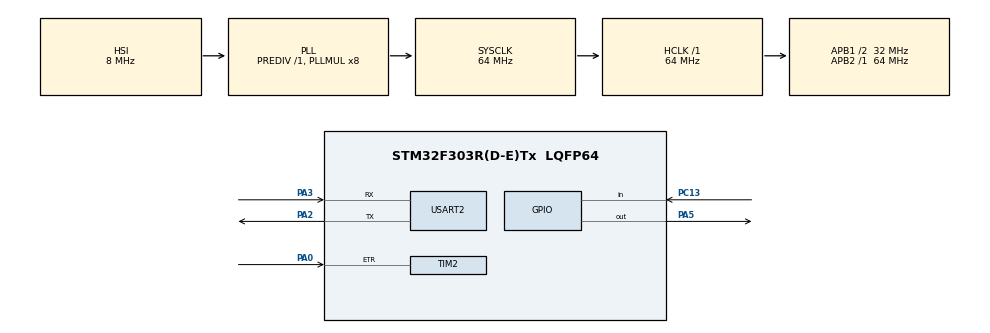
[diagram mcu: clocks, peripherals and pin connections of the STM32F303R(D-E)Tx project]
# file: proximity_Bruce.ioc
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Mcu.Family=STM32F3
Mcu.Name=STM32F303R(D-E)Tx
Mcu.Package=LQFP64
NVIC.PriorityGroup=NVIC_PRIORITYGROUP_4
PA0.Signal=S_TIM2_CH1_ETR
PA2.Mode=Asynchronous
PA2.Signal=USART2_TX
PA3.Mode=Asynchronous
PA3.Signal=USART2_RX
PA5.Signal=GPIO_Output
PC13.Signal=GPIO_Input
ProjectManager.HeapSize=0x200
ProjectManager.StackSize=0x400
ProjectManager.TargetToolchain=STM32CubeIDE
RCC.AHBFreq_Value=64000000
RCC.APB1CLKDivider=RCC_HCLK_DIV2
RCC.APB1Freq_Value=32000000
RCC.APB1TimFreq_Value=64000000
RCC.APB2Freq_Value=64000000
RCC.APB2TimFreq_Value=64000000
RCC.CortexFreq_Value=64000000
RCC.HCLKFreq_Value=64000000
RCC.HSE_VALUE=8000000
RCC.HSI_VALUE=8000000
RCC.LSE_VALUE=32768
RCC.PLLMUL=RCC_PLL_MUL8
RCC.SYSCLKFreq_VALUE=64000000
RCC.SYSCLKSourceVirtual=RCC_SYSCLKSOURCE_PLLCLK
RCC.TIM2Selection=RCC_TIM2CLK_PLLCLK
RCC.USBFreq_Value=64000000
SH.S_TIM2_CH1_ETR.0=TIM2_ETR,ClockSourceETR_Mode2
TIM2.AutoReloadPreload=TIM_AUTORELOAD_PRELOAD_ENABLE
TIM2.Period=4294967295
USART2.VirtualMode-Asynchronous=VM_ASYNC
board=custom

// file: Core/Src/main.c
/* USER CODE BEGIN Header */
/**
  ******************************************************************************
  * @file           : main.c
  * @brief          : Main program body
  ******************************************************************************
  * @attention
  *
  * <h2><center>&copy; Copyright (c) 2022 STMicroelectronics.
  * All rights reserved.</center></h2>
  *
  * This software component is licensed by ST under BSD 3-Clause license,
  * the "License"; You may not use this file except in compliance with the
  * License. You may obtain a copy of the License at:
  *                        opensource.org/licenses/BSD-3-Clause
  *
  ******************************************************************************
  */
/* USER CODE END Header */
#include "main.h"

/* USER CODE BEGIN Includes */
#include <stdio.h>
#include <string.h>
#include <math.h>
/* USER CODE END Includes */

/* USER CODE BEGIN PD */
#define Buff_len (200)
#define TIM2_CNT_NUM (100)
#define SD_CNT_NUM (10)
/* USER CODE END PD */

TIM_HandleTypeDef htim2;

UART_HandleTypeDef huart2;

/* USER CODE BEGIN PV */
char tx_buff[Buff_len];

uint8_t rx_data[1] = {0};

typedef union {
	#define FloatSize (2)
	float f4Byte[FloatSize];
	char  Byte4float[4*FloatSize];
} xu_floatChar;
xu_floatChar PostAvgOffsetValue = {0};
#define SAVE_ON_FLOAT  PostAvgOffsetValue.f4Byte[0]
#define SAVE_OFF_FLOAT PostAvgOffsetValue.f4Byte[1]

typedef union {
	char u8Byte;
	struct {
		unsigned bit0:1;
		unsigned bit1:1;
		unsigned bit2:1;
		unsigned bit3:1;
		unsigned bit4:1;
		unsigned bit5:1;
		unsigned bit6:1;
	} sbit;
} xu_sbit;
xu_sbit flag[1] = {0};
#define BTN_blue flag[0].sbit.bit0

typedef enum {
	xePR_State_Empty,
	xePR_State_Ready,
	xePR_State_Idle,
} xe_ProximityReady;
xe_ProximityReady ProximityReady = xePR_State_Empty;

typedef enum {
	xePOCFD_PowerOn,
	xePOCFD_FreeRun,
} xe_PowerOn_Check_Freq_Directly;
xe_PowerOn_Check_Freq_Directly xe_WearValueState = xePOCFD_FreeRun;

typedef enum {
	xeWS_WearInitial,
	xeWS_WearOn,
	xeWS_WearOff,
	xeWS_Normal,
} xe_WearState;
static xe_WearState xeWearState = xeWS_WearInitial;

typedef enum {
	xeCalibrationOn,
	xeCalibrationOff,
} xe_CalibrationState;
xe_CalibrationState xeCalibrationState = xeCalibrationOn;

float SD = 0;
float SD_sqrt = 0;
float SD_avg = 0;
float present = 0;
uint32_t avg = 0;
calibration_check = 1;

static unsigned int save_TIM2[TIM2_CNT_NUM] = {0};

/* USER CODE END PV */

void SystemClock_Config(void);
static void MX_GPIO_Init(void);
static void MX_TIM2_Init(void);
static void MX_USART2_UART_Init(void);
/* USER CODE BEGIN PFP */
void task1ms(void);
void task5ms(void);
void task10ms(void);
void task50ms(void);
void task100ms(void);
void task500ms(void);
void task1000ms(void);
void task2000ms(void);
void task5000ms(void);
float ffnPostAvg_0d05(float u32Input);
float ffnPostAvg_0d25(float u32Input);
void calibration_task(void);
float present_freq(uint32_t);
uint32_t avg_freq(uint32_t);
/* USER CODE END PFP */

/* USER CODE BEGIN 0 */
void task1ms(void) {

}
void task5ms(void) {

}
void task10ms(void) {
	uint32_t TIM2CNT = __HAL_TIM_GET_COUNTER(&htim2);
	__HAL_TIM_SET_COUNTER(&htim2, 0);

//		snprintf(tx_buff, Buff_len, "counter: %d \r\n",  TIM2CNT);
//		HAL_UART_Transmit(&huart2, (uint8_t*)tx_buff, strlen(tx_buff), HAL_MAX_DELAY);

		unsigned int freq = 0; //can speed up
		float mean = 0;
		for(int i = TIM2_CNT_NUM-1; i > 0; i--) {
			save_TIM2[i] = save_TIM2[i-1];
		}
		save_TIM2[0] = TIM2CNT;
		for(int i = 0; i < TIM2_CNT_NUM; i++) {
			freq += save_TIM2[i];
		}
		SD = 0;
		mean = freq / TIM2_CNT_NUM;
		for (int i = 0; i < 10; i++) {
		    SD += pow(save_TIM2[i] - mean, 2);
		}
		SD_sqrt = sqrt(SD / TIM2_CNT_NUM);

//		snprintf(tx_buff, Buff_len, "SD: %f \r\n",  SD_sqrt);
//		HAL_UART_Transmit(&huart2, (uint8_t*)tx_buff, strlen(tx_buff), HAL_MAX_DELAY);

		float ftmp;
		//Plot Frequency post avg (0.25)
		ftmp = freq;
		float Get0d25PostAvg = ffnPostAvg_0d25(ftmp);

		//Plot Frequency post avg (0.05)
		float Get0d05PostAvg = ffnPostAvg_0d05(ftmp);
		present = present_freq(TIM2CNT);
		avg = avg_freq(freq);
		float offset = SD_avg*100;

		const float cfOffsetValue = 250.0;
		float fMaxBoundary = Get0d05PostAvg+cfOffsetValue;
		float fMinBoundary = Get0d05PostAvg-cfOffsetValue;
		float fPostAvgFrequency = Get0d25PostAvg-fMinBoundary;

//		snprintf(tx_buff, Buff_len, "present: %f avg: %f offset: %f \r\n", present, avg, offset);
//		HAL_UART_Transmit(&huart2, (uint8_t*)tx_buff, strlen(tx_buff), HAL_MAX_DELAY);

//		snprintf(tx_buff, Buff_len, "freq: %d \r\n", freq);
//		HAL_UART_Transmit(&huart2, (uint8_t*)tx_buff, strlen(tx_buff), HAL_MAX_DELAY);

		switch(ProximityReady) {
			case xePR_State_Empty:
				break;
			case xePR_State_Ready:
				break;
			case xePR_State_Idle: //can be added
				break;
		}

		float TransferMax = 2*cfOffsetValue;
		float TransferMin = 0.0;

		if (ProximityReady == xePR_State_Idle) {
			switch(xe_WearValueState) {
				case xePOCFD_FreeRun:
						//Normal
						if(abs(present - avg) < 13*offset) {
							if(xeWearState != xeWS_WearInitial) {
								xeWearState = xeWS_WearInitial;
							}
						}

						//Wear on
						if(present - avg < (-13)*offset) {
							if(xeWearState != xeWS_WearOn) {
								xeWearState = xeWS_WearOn;

								SAVE_ON_FLOAT = Get0d25PostAvg;
							}
						}

						//Wear off
						if(present - avg > 13*offset) {
							if(xeWearState != xeWS_WearOff) {
								xeWearState = xeWS_WearOff;

								SAVE_OFF_FLOAT = Get0d25PostAvg;
							}
						}
						break;
			}
		}

		switch(xeWearState) {
			case xeWS_WearInitial:
					break;
			case xeWS_Normal:
					break;
			case xeWS_WearOn:
					HAL_GPIO_WritePin(GPIOA, GPIO_PIN_5, GPIO_PIN_SET);
					break;
			case xeWS_WearOff:
					HAL_GPIO_WritePin(GPIOA, GPIO_PIN_5, GPIO_PIN_RESET);
					break;
		}

}
void task50ms(void) {

}
void task100ms(void) {
//	HAL_GPIO_TogglePin(GPIOA, GPIO_PIN_5);
	if(xeWearState == xeWS_WearInitial) {
		static float save_SD[SD_CNT_NUM] = {0};
		float SD_sum = 0;
		for(int i = SD_CNT_NUM-1; i > 0; i--) {
					save_SD[i] = save_SD[i-1];
					SD_sum += save_SD[i];
		}
		save_SD[0] = SD_sqrt;
		SD_avg = SD_sum / (SD_CNT_NUM-1);
	}
}
void task500ms(void) {
	if (!(HAL_GPIO_ReadPin(GPIOC, GPIO_PIN_13)))  {
		BTN_blue = 0;
		snprintf(tx_buff, Buff_len, "BlueButton Press\r\n");
		HAL_UART_Transmit(&huart2, (uint8_t*)tx_buff, strlen(tx_buff), HAL_MAX_DELAY);
	}

}
void task1000ms(void) {

}

void task2000ms(void) {
	switch(ProximityReady) {
		case xePR_State_Empty:
			ProximityReady = xePR_State_Ready;
		case xePR_State_Ready:
			ProximityReady = xePR_State_Idle;
		default:
			break;
	}

}

void task5000ms(void) {
}

void calibration_away_task(void) {

	snprintf(tx_buff, Buff_len, "Enter Calibration Mode\r\n");
	HAL_UART_Transmit(&huart2, (uint8_t*)tx_buff, strlen(tx_buff), HAL_MAX_DELAY);

	snprintf(tx_buff, Buff_len, "Please keep away from headphone\r\n");
	HAL_UART_Transmit(&huart2, (uint8_t*)tx_buff, strlen(tx_buff), HAL_MAX_DELAY);
	HAL_Delay(3000);

	snprintf(tx_buff, Buff_len, "Calibration will start in 3 s\r\n");
	HAL_UART_Transmit(&huart2, (uint8_t*)tx_buff, strlen(tx_buff), HAL_MAX_DELAY);
	HAL_Delay(1000);

	snprintf(tx_buff, Buff_len, "Calibration will start in 2 s\r\n");
	HAL_UART_Transmit(&huart2, (uint8_t*)tx_buff, strlen(tx_buff), HAL_MAX_DELAY);
	HAL_Delay(1000);

	snprintf(tx_buff, Buff_len, "Calibration will start in 1 s\r\n");
	HAL_UART_Transmit(&huart2, (uint8_t*)tx_buff, strlen(tx_buff), HAL_MAX_DELAY);
	HAL_Delay(1000);

	snprintf(tx_buff, Buff_len, "freq = %d\r\n", avg);
	HAL_UART_Transmit(&huart2, (uint8_t*)tx_buff, strlen(tx_buff), HAL_MAX_DELAY);
	HAL_Delay(1000);
}

void calibration_close_task(void) {

	snprintf(tx_buff, Buff_len, "Enter Calibration Mode\r\n");
	HAL_UART_Transmit(&huart2, (uint8_t*)tx_buff, strlen(tx_buff), HAL_MAX_DELAY);

	snprintf(tx_buff, Buff_len, "Please be close to headphone\r\n");
	HAL_UART_Transmit(&huart2, (uint8_t*)tx_buff, strlen(tx_buff), HAL_MAX_DELAY);
	HAL_Delay(3000);

	snprintf(tx_buff, Buff_len, "Calibration will start in 3 s\r\n");
	HAL_UART_Transmit(&huart2, (uint8_t*)tx_buff, strlen(tx_buff), HAL_MAX_DELAY);
	HAL_Delay(1000);

	snprintf(tx_buff, Buff_len, "Calibration will start in 2 s\r\n");
	HAL_UART_Transmit(&huart2, (uint8_t*)tx_buff, strlen(tx_buff), HAL_MAX_DELAY);
	HAL_Delay(1000);

	snprintf(tx_buff, Buff_len, "Calibration will start in 1 s\r\n");
	HAL_UART_Transmit(&huart2, (uint8_t*)tx_buff, strlen(tx_buff), HAL_MAX_DELAY);
	HAL_Delay(1000);

	snprintf(tx_buff, Buff_len, "freq = %d\r\n", avg);
	HAL_UART_Transmit(&huart2, (uint8_t*)tx_buff, strlen(tx_buff), HAL_MAX_DELAY);
	HAL_Delay(1000);

}

/* USER CODE END 0 */

int main(void)
{

  /* MCU Configuration--------------------------------------------------------*/

  /* Reset of all peripherals, Initializes the Flash interface and the Systick. */
  HAL_Init();

  /* Configure the system clock */
  SystemClock_Config();

  /* Initialize all configured peripherals */
  MX_GPIO_Init();
  MX_TIM2_Init();
  MX_USART2_UART_Init();

  /* Infinite loop */
  while (1)
  {

    /* USER CODE BEGIN 3 */
	  if(1) {
	  		  static unsigned int   polling1ms = 0;
	  		  static unsigned char  polling5ms = 0, polling10ms = 0, polling50ms = 0, polling100ms = 0;
	  		  static unsigned short polling500ms = 0, polling1000ms = 0, polling2000ms = 0, polling5000ms = 0;

	  		  if(polling1ms != HAL_GetTick() ) {
				  polling1ms++;
				  task1ms();

				  polling5ms++;
				  polling10ms++;
				  polling50ms++;
				  polling100ms++;
				  polling500ms++;
				  polling1000ms++;
				  polling2000ms++;
				  polling5000ms++;
	  		  }
	  		  if(polling5ms >= 5) {
	  			  polling5ms = 0;
	  			  task5ms();
	  		  }

	  		  if(polling10ms>=10) {
	  			  polling10ms = 0;
	  			  task10ms();
	  		  }
	  		  if(polling50ms>=50) {
	  			  polling50ms = 0;
	  			  task50ms();
	  		  }
	  		  if(polling100ms>=100) {
	  			  polling100ms = 0;
	  		  	  task100ms();
	  		  }
	  		  if(polling500ms>=500) {
	  			  polling500ms = 0;
	  			  task500ms();
	  		  }
	  		  if(polling1000ms>=1000) {
	  			  polling1000ms = 0;
	  			  task1000ms();
	  		  }
	  		if(polling2000ms>=2000) {
				  polling2000ms = 0;
				  task2000ms();
			  }
	  		if(polling5000ms>=5000) {
				  task5000ms();
				  if(calibration_check == 2) {
					  calibration_close_task();
					  calibration_check++;
					  for(int i = 0; i < TIM2_CNT_NUM; i++) {
						save_TIM2[i] = 0;
					 }
					  ProximityReady = xePR_State_Empty;
					  xeWearState = xeWS_WearInitial;
				  }
				  if(calibration_check == 1) {
					  calibration_away_task();
					  calibration_check++;
					  for(int i = 0; i < TIM2_CNT_NUM; i++) {
						  save_TIM2[i] = 0;
					  }
					  ProximityReady = xePR_State_Empty;
					  xeWearState = xeWS_WearInitial;
				  }
				  polling1ms = HAL_GetTick();
				  polling5ms = 0;
				  polling10ms = 0;
				  polling50ms = 0;
				  polling100ms = 0;
				  polling500ms = 0;
				  polling1000ms = 0;
				  polling2000ms = 0;
				  polling5000ms = 0;
			  }
	  	  }
  }
  /* USER CODE END 3 */
}

void SystemClock_Config(void)
{
  RCC_OscInitTypeDef RCC_OscInitStruct = {0};
  RCC_ClkInitTypeDef RCC_ClkInitStruct = {0};
  RCC_PeriphCLKInitTypeDef PeriphClkInit = {0};

  /** Initializes the RCC Oscillators according to the specified parameters
  * in the RCC_OscInitTypeDef structure.
  */
  RCC_OscInitStruct.OscillatorType = RCC_OSCILLATORTYPE_HSI;
  RCC_OscInitStruct.HSIState = RCC_HSI_ON;
  RCC_OscInitStruct.HSICalibrationValue = RCC_HSICALIBRATION_DEFAULT;
  RCC_OscInitStruct.PLL.PLLState = RCC_PLL_ON;
  RCC_OscInitStruct.PLL.PLLSource = RCC_PLLSOURCE_HSI;
  RCC_OscInitStruct.PLL.PLLMUL = RCC_PLL_MUL8;
  RCC_OscInitStruct.PLL.PREDIV = RCC_PREDIV_DIV1;
  if (HAL_RCC_OscConfig(&RCC_OscInitStruct) != HAL_OK)
  {
    Error_Handler();
  }
  /** Initializes the CPU, AHB and APB buses clocks
  */
  RCC_ClkInitStruct.ClockType = RCC_CLOCKTYPE_HCLK|RCC_CLOCKTYPE_SYSCLK
                              |RCC_CLOCKTYPE_PCLK1|RCC_CLOCKTYPE_PCLK2;
  RCC_ClkInitStruct.SYSCLKSource = RCC_SYSCLKSOURCE_PLLCLK;
  RCC_ClkInitStruct.AHBCLKDivider = RCC_SYSCLK_DIV1;
  RCC_ClkInitStruct.APB1CLKDivider = RCC_HCLK_DIV2;
  RCC_ClkInitStruct.APB2CLKDivider = RCC_HCLK_DIV1;

  if (HAL_RCC_ClockConfig(&RCC_ClkInitStruct, FLASH_LATENCY_2) != HAL_OK)
  {
    Error_Handler();
  }
  PeriphClkInit.PeriphClockSelection = RCC_PERIPHCLK_USART2|RCC_PERIPHCLK_TIM2;
  PeriphClkInit.Usart2ClockSelection = RCC_USART2CLKSOURCE_PCLK1;
  PeriphClkInit.Tim2ClockSelection = RCC_TIM2CLK_PLLCLK;
  if (HAL_RCCEx_PeriphCLKConfig(&PeriphClkInit) != HAL_OK)
  {
    Error_Handler();
  }
}

static void MX_TIM2_Init(void)
{

  TIM_ClockConfigTypeDef sClockSourceConfig = {0};
  TIM_MasterConfigTypeDef sMasterConfig = {0};

  htim2.Instance = TIM2;
  htim2.Init.Prescaler = 0;
  htim2.Init.CounterMode = TIM_COUNTERMODE_UP;
  htim2.Init.Period = 4294967295;
  htim2.Init.ClockDivision = TIM_CLOCKDIVISION_DIV1;
  htim2.Init.AutoReloadPreload = TIM_AUTORELOAD_PRELOAD_ENABLE;
  if (HAL_TIM_Base_Init(&htim2) != HAL_OK)
  {
    Error_Handler();
  }
  sClockSourceConfig.ClockSource = TIM_CLOCKSOURCE_ETRMODE2;
  sClockSourceConfig.ClockPolarity = TIM_CLOCKPOLARITY_NONINVERTED;
  sClockSourceConfig.ClockPrescaler = TIM_CLOCKPRESCALER_DIV1;
  sClockSourceConfig.ClockFilter = 0;
  if (HAL_TIM_ConfigClockSource(&htim2, &sClockSourceConfig) != HAL_OK)
  {
    Error_Handler();
  }
  sMasterConfig.MasterOutputTrigger = TIM_TRGO_RESET;
  sMasterConfig.MasterSlaveMode = TIM_MASTERSLAVEMODE_DISABLE;
  if (HAL_TIMEx_MasterConfigSynchronization(&htim2, &sMasterConfig) != HAL_OK)
  {
    Error_Handler();
  }

}

static void MX_USART2_UART_Init(void)
{

  huart2.Instance = USART2;
  huart2.Init.BaudRate = 38400;
  huart2.Init.WordLength = UART_WORDLENGTH_8B;
  huart2.Init.StopBits = UART_STOPBITS_1;
  huart2.Init.Parity = UART_PARITY_NONE;
  huart2.Init.Mode = UART_MODE_TX_RX;
  huart2.Init.HwFlowCtl = UART_HWCONTROL_NONE;
  huart2.Init.OverSampling = UART_OVERSAMPLING_16;
  huart2.Init.OneBitSampling = UART_ONE_BIT_SAMPLE_DISABLE;
  huart2.AdvancedInit.AdvFeatureInit = UART_ADVFEATURE_NO_INIT;
  if (HAL_UART_Init(&huart2) != HAL_OK)
  {
    Error_Handler();
  }
  /* USER CODE BEGIN USART2_Init 2 */
  HAL_TIM_Base_Start(&htim2);
  /* USER CODE END USART2_Init 2 */

}

static void MX_GPIO_Init(void)
{
  GPIO_InitTypeDef GPIO_InitStruct = {0};

  /* GPIO Ports Clock Enable */
  __HAL_RCC_GPIOC_CLK_ENABLE();
  __HAL_RCC_GPIOA_CLK_ENABLE();

  /*Configure GPIO pin Output Level */
  HAL_GPIO_WritePin(GPIOA, GPIO_PIN_5, GPIO_PIN_RESET);

  /*Configure GPIO pin : PC13 */
  GPIO_InitStruct.Pin = GPIO_PIN_13;
  GPIO_InitStruct.Mode = GPIO_MODE_INPUT;
  GPIO_InitStruct.Pull = GPIO_NOPULL;
  HAL_GPIO_Init(GPIOC, &GPIO_InitStruct);

  /*Configure GPIO pin : PA5 */
  GPIO_InitStruct.Pin = GPIO_PIN_5;
  GPIO_InitStruct.Mode = GPIO_MODE_OUTPUT_PP;
  GPIO_InitStruct.Pull = GPIO_NOPULL;
  GPIO_InitStruct.Speed = GPIO_SPEED_FREQ_LOW;
  HAL_GPIO_Init(GPIOA, &GPIO_InitStruct);

}

/* USER CODE BEGIN 4 */
float ffnPostAvg_0d05(float u32Input) {
	static float fsaveFreq = 0.0;
		   float fcurrFreq = 0.0;

	const float postAVGweight = (0.05);

	fcurrFreq = u32Input;
	fsaveFreq = fsaveFreq*(1-postAVGweight) + fcurrFreq*(postAVGweight);

	return fsaveFreq;
}

float ffnPostAvg_0d25(float u32Input) {
	static float fsaveFreq = 0.0;
		   float fcurrFreq = 0.0;

	const float postAVGweight = (0.25);

	fcurrFreq = u32Input;
	fsaveFreq = fsaveFreq*(1-postAVGweight) + fcurrFreq*(postAVGweight);

	return fsaveFreq;
}

float present_freq(uint32_t u32Input) {
	static float fsaveFreq = 0.0;
		   float fcurrFreq = 0.0;

	const int weight = 100;

	fcurrFreq = u32Input;
	fsaveFreq =  fcurrFreq*weight;

	return fsaveFreq;
}

uint32_t avg_freq(uint32_t u32Input) {
	static float fsaveFreq = 0.0;
		   float fcurrFreq = 0.0;

	const float postAVGweight = (0.05);

//	fcurrFreq = u32Input;
//	fsaveFreq = fsaveFreq*(1-postAVGweight) + fcurrFreq*(postAVGweight);

	return u32Input;
}

/* USER CODE END 4 */

void Error_Handler(void)
{
  __disable_irq();
  while (1)
  {
  }
}

/************************ (C) COPYRIGHT STMicroelectronics *****END OF FILE****/
